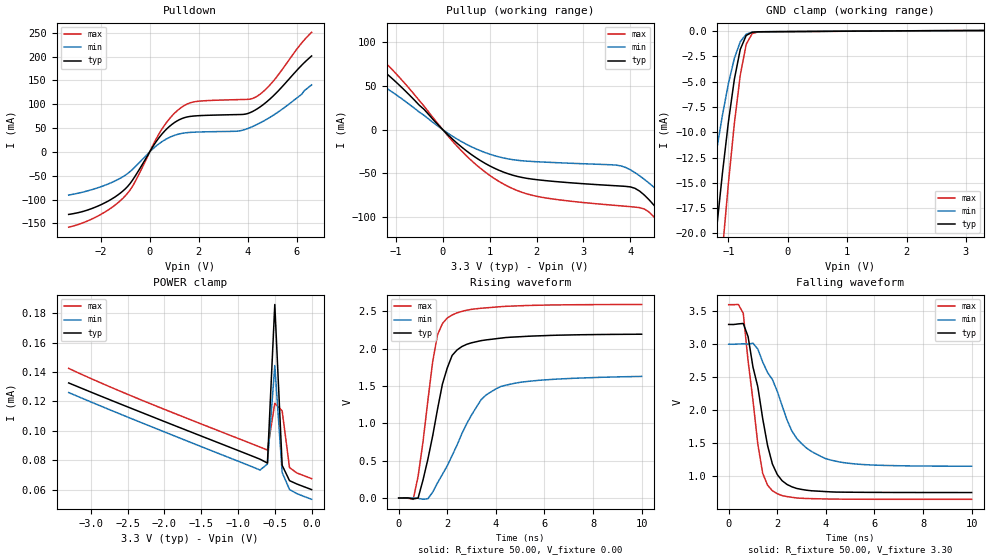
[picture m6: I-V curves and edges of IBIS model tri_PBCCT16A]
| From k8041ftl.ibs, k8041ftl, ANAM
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|   Model tri_PBCCT16A
[Model]   tri_PBCCT16A
Model_type   I/O
Polarity   Non-Inverting
Enable   Active-Low
Vinl =   0.80V
Vinh =   2.00V
Vmeas =  1.50V
C_comp   7.13e-12F   7.13e-12F   7.13e-12F
[Temperature Range]   25   125   0
[Voltage Range]   3.30V   3.00V   3.60V
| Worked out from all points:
|   slope of the pulldown table from 0 to 0.495 V, typ, clamps not added: 13.3 ohm
|   slope of the pullup table from 0 to 0.495 V, typ, clamps not added: 20.8 ohm
|   GND clamp passes 1 mA (typ) near -0.74 V on its own axis
|   rising waveform, R_fixture 50.00, V_fixture 0.00: 20-80 % time 871ps typ, 1.55ns min, 638ps max; typ from 0 V to 2.19 V
|   falling waveform, R_fixture 50.00, V_fixture 3.30: 20-80 % time 804ps typ, 1.41ns min, 585ps max; typ from 3.3 V to 0.751 V
[POWER_clamp]
| voltage   I(typ)   I(min)   I(max)
-3.3V     132.5uA    126uA      142.4uA
-2.3V     112.3uA    105.3uA    120.7uA
-700mV    80.69uA    73.34uA    88.95uA
-600mV    78.11uA    77.44uA    86.92uA
-500mV    185.8uA    144.3uA    118.7uA
-400mV    76.55uA    71.67uA    113.5uA
-300mV    66.14uA    60.14uA    75.01uA
-200mV    63.86uA    57.32uA    71.36uA
0V        60.04uA    53.45uA    67.52uA
[GND_clamp]
| voltage   I(typ)   I(min)   I(max)
-3.3V     -167.1mA   -116.3mA   -199.9mA
-1.4V     -31.88mA   -19.82mA   -43.87mA
-1.2V     -19.61mA   -11.84mA   -28.74mA
-1.1V     -14.02mA   -8.298mA   -21.66mA
-1V       -8.987mA   -5.188mA   -15.05mA
-900mV    -4.77mA    -2.693mA   -9.149mA
-800mV    -1.799mA   -1.046mA   -4.346mA
-700mV    -425.5uA   -303.1uA   -1.298mA
-600mV    -109uA     -103.3uA   -243.7uA
-500mV    -67.58uA   -65.5uA    -81.88uA
3.3V      60.04uA    60.14uA    61.81uA
[Pullup]
| voltage   I(typ)   I(min)   I(max)
-3.3V     116.9mA    48.82mA    146mA
-3V       114.4mA    48.85mA    140.6mA
-2.7V     110.3mA    74.08mA    134mA
-2V       94.67mA    69.25mA    112.3mA
-1V       54.64mA    40.19mA    64.3mA
500mV     -23.98mA   -16.49mA   -29.63mA
1.5V      -52.11mA   -34.29mA   -67.56mA
3.8V      -64.42mA   -41.34mA   -87.07mA
4.2V      -70.23mA   -52.75mA   -89.13mA
5V        -121.2mA   -90.64mA   -138.8mA
5.5V      -164mA     -119.9mA   -191mA
6.6V      -326.4mA   -220.3mA   -410mA
[Pulldown]
| voltage   I(typ)   I(min)   I(max)
-3.3V     -131mA     -90.44mA   -157.8mA
-2V       -111mA     -73.19mA   -131.4mA
-1V       -77.72mA   -49.02mA   -92.52mA
-600mV    -51.41mA   -31.43mA   -63.1mA
400mV     31.1mA     17.94mA    39.52mA
800mV     53.22mA    30.32mA    69.16mA
1.2V      67.35mA    37.71mA    89.84mA
1.9V      75.76mA    41.65mA    105.8mA
3.6V      78.4mA     43.72mA    109.8mA
4.3V      87.83mA    55.77mA    114.6mA
5V        115.7mA    75.72mA    146.2mA
6.6V      201.4mA    140.6mA    250.9mA
[Ramp]
| variable   typ   min   max
dV/dt_r   0.01/3.41e-10   0.01/5.65e-10   0.02/3.38e-10
dV/dt_f   1.54/8.01e-10   1.12/1.42e-09   1.78/5.74e-10
R_load = 50.00
[Rising Waveform]
R_fixture = 50.00
V_fixture = 0.00
V_fixture_min = 0.00
V_fixture_max = 0.00
| time   V(typ)   V(min)   V(max)
0s        0V         0V         0V
600ps     -13.11mV   212.9uV    -18.08mV
1ns       238.4mV    -16.75mV   749.7mV
1.4ns     832.8mV    77.8mV     1.827V
1.6ns     1.191V     202.8mV    2.188V
2ns       1.742V     431.4mV    2.412V
2.4ns     1.983V     707.3mV    2.481V
3.4ns     2.109V     1.32V      2.542V
4.2ns     2.142V     1.493V     2.564V
10ns      2.194V     1.629V     2.593V
[Falling Waveform]
R_fixture = 50.00
V_fixture = 3.30
V_fixture_min = 3.00
V_fixture_max = 3.60
| time   V(typ)   V(min)   V(max)
0s        3.3V       3V         3.6V
600ps     3.315V     3.006V     3.469V
800ps     3.114V     3.001V     2.745V
1.2ns     2.353V     2.927V     1.486V
1.4ns     1.875V     2.731V     1.044V
1.8ns     1.184V     2.466V     778.2mV
2.2ns     930.4mV    2.068V     704.7mV
2.8ns     813.4mV    1.573V     668.7mV
4ns       765.6mV    1.264V     654.1mV
10ns      751.2mV    1.15V      648.4mV
